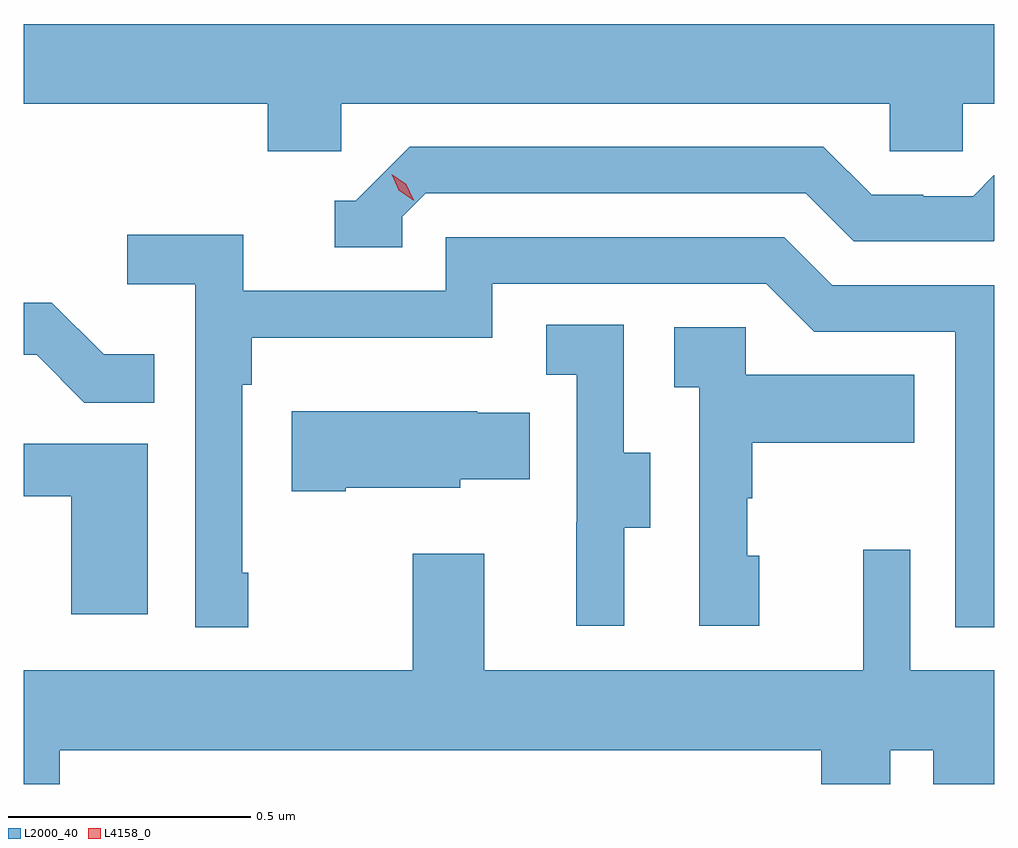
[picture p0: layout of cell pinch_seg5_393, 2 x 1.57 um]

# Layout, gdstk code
import gdstk
lib = gdstk.Library(unit=1e-6, precision=1e-09)
def P(c, l, *ps):  # polygons
    for p in ps: c.add(gdstk.Polygon(p, *l))
L2000_40 = (2000, 40)
L4158_0 = (4158, 0)

pinch_seg5_393 = lib.new_cell('pinch_seg5_393')
P(pinch_seg5_393, L2000_40, [(975.312,874.076),(976.443,874.076),(976.443,873.978),(976.593,873.978),(976.593,874.076),(976.658,874.076),(976.658,874.24),(974.658,874.24),(974.658,874.076),(975.161,874.076),(975.161,873.978),(975.312,873.978)],
  [(975.438,873.843),(975.486,873.891),(976.269,873.891),(976.368,873.792),(976.657,873.792),(976.658,873.793),(976.658,873.928),(976.657,873.928),(976.615,873.885),(976.512,873.885),(976.512,873.888),(976.405,873.888),(976.306,873.987),(975.453,873.987),(975.342,873.876),(975.299,873.876),(975.299,873.78),(975.438,873.78)],
  [(975.121,873.109),(975.108,873.109),(975.108,873.497),(975.128,873.497),(975.128,873.593),(975.624,873.593),(975.624,873.705),(976.188,873.705),(976.287,873.606),(976.578,873.606),(976.578,872.997),(976.658,872.997),(976.658,873.702),(976.324,873.702),(976.225,873.801),(975.528,873.801),(975.528,873.69),(975.11,873.69),(975.11,873.806),(974.871,873.806),(974.871,873.704),(975.012,873.704),(975.012,872.997),(975.121,872.997)],
  [(974.927,873.559),(974.823,873.559),(974.716,873.666),(974.658,873.666),(974.658,873.558),(974.685,873.558),(974.783,873.46),(974.927,873.46)],
  [(975.895,873.202),(975.949,873.202),(975.949,873.357),(975.894,873.357),(975.894,873.62),(975.735,873.62),(975.735,873.517),(975.798,873.517),(975.798,873.213),(975.797,873.213),(975.797,873),(975.895,873)],
  [(976.174,873.144),(976.149,873.144),(976.149,873.263),(976.159,873.263),(976.159,873.377),(976.493,873.377),(976.493,873.517),(976.146,873.517),(976.146,873.615),(975.999,873.615),(975.999,873.491),(976.05,873.491),(976.05,873),(976.174,873)],
  [(975.322,873.284),(975.558,873.284),(975.558,873.302),(975.701,873.302),(975.701,873.439),(975.593,873.439),(975.593,873.442),(975.21,873.442),(975.21,873.277),(975.322,873.277)],
  [(974.914,873.375),(974.658,873.375),(974.658,873.267),(974.756,873.267),(974.756,873.024),(974.914,873.024)],
  [(974.732,872.744),(976.301,872.744),(976.301,872.674),(976.444,872.674),(976.444,872.744),(976.532,872.744),(976.532,872.674),(976.658,872.674),(976.658,872.908),(976.485,872.908),(976.485,873.157),(976.388,873.157),(976.388,872.908),(975.607,872.908),(975.607,873.148),(975.46,873.148),(975.46,872.908),(974.658,872.908),(974.658,872.674),(974.732,872.674)])
P(pinch_seg5_393, L4158_0, [(975.461,873.877),(975.431,873.897),(975.416,873.93),(975.416,873.93),(975.416,873.93),(975.446,873.91),(975.462,873.877),(975.462,873.877)])

lib.write_gds('pinch_seg5_393.gds')
